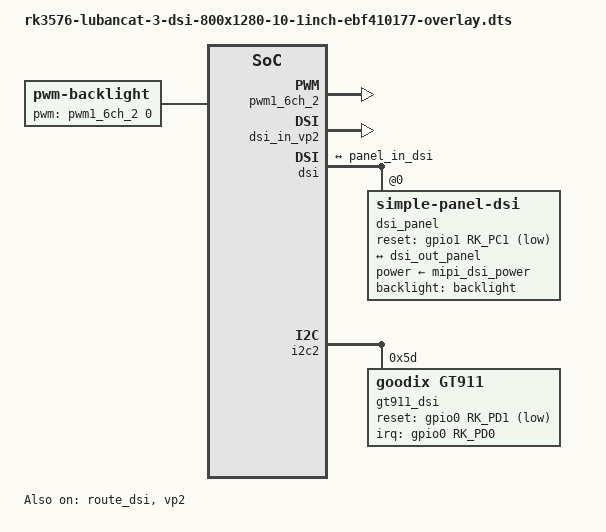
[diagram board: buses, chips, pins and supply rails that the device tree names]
/dts-v1/;
/plugin/;

#include <dt-bindings/gpio/gpio.h>
#include <dt-bindings/pinctrl/rockchip.h>
#include <dt-bindings/display/drm_mipi_dsi.h>
#include <dt-bindings/interrupt-controller/irq.h>

/ {
    fragment@0 {
        target-path = "/";

        __overlay__ {
            backlight: backlight {
                compatible = "pwm-backlight";
                pwms = <&pwm1_6ch_2 0 25000 0>;
                brightness-levels = <
                    0  20  20  21  21  22  22  23
                    23  24  24  25  25  26  26  27
                    27  28  28  29  29  30  30  31
                    31  32  32  33  33  34  34  35
                    35  36  36  37  37  38  38  39
                    40  41  42  43  44  45  46  47
                    48  49  50  51  52  53  54  55
                    56  57  58  59  60  61  62  63
                    64  65  66  67  68  69  70  71
                    72  73  74  75  76  77  78  79
                    80  81  82  83  84  85  86  87
                    88  89  90  91  92  93  94  95
                    96  97  98  99 100 101 102 103
                    104 105 106 107 108 109 110 111
                    112 113 114 115 116 117 118 119
                    120 121 122 123 124 125 126 127
                    128 129 130 131 132 133 134 135
                    136 137 138 139 140 141 142 143
                    144 145 146 147 148 149 150 151
                    152 153 154 155 156 157 158 159
                    160 161 162 163 164 165 166 167
                    168 169 170 171 172 173 174 175
                    176 177 178 179 180 181 182 183
                    184 185 186 187 188 189 190 191
                    192 193 194 195 196 197 198 199
                    200 201 202 203 204 205 206 207
                    208 209 210 211 212 213 214 215
                    216 217 218 219 220 221 222 223
                    224 225 226 227 228 229 230 231
                    232 233 234 235 236 237 238 239
                    240 241 242 243 244 245 246 247
                    248 249 250 251 252 253 254 255
                >;
                default-brightness-level = <200>;
            };
        };
    };

    fragment@1 {
        target = <&pwm1_6ch_2>;

        __overlay__ {
            status = "okay";
            pinctrl-0 = <&pwm1m1_ch2>;
        };
    };

    fragment@2 {
        target = <&route_dsi>;

        __overlay__ {
            status = "okay";
            connect = <&vp2_out_dsi>;
        };
    };

    fragment@3 {
        target = <&dsi_in_vp0>;

        __overlay__ {
            status = "disabled";
        };
    };

    fragment@4 {
        target = <&dsi_in_vp1>;

        __overlay__ {
            status = "disabled";
        };
    };

    fragment@5 {
        target = <&dsi_in_vp2>;

        __overlay__ {
            status = "okay";
        };
    };

    fragment@6 {
        target = <&dsi_in_vopl>;

        __overlay__ {
            status = "disabled";
        };
    };

    fragment@7 {
        target = <&vp2>;

        __overlay__ {
            status = "okay";
        };
    };

    fragment@8 {
        target = <&dsi>;

        __overlay__ {
            status = "okay";
            #address-cells = <1>;
            #size-cells = <0>;
            //rockchip,lane-rate = <1000>;

            dsi_panel: panel@0 {
                status = "okay";
                compatible = "simple-panel-dsi";
                reg = <0>;
                backlight = <&backlight>;
                power-supply = <&mipi_dsi_power>;
                reset-gpios = <&gpio1 RK_PC1 GPIO_ACTIVE_LOW>;

                enable-delay-ms = <35>;
                prepare-delay-ms = <6>;
                reset-delay-ms = <0>;
                init-delay-ms = <20>;
                unprepare-delay-ms = <0>;
                disable-delay-ms = <20>;

                width-mm = <74>;
                height-mm = <133>;

                dsi,flags = <(MIPI_DSI_MODE_VIDEO | MIPI_DSI_MODE_VIDEO_BURST |
                        MIPI_DSI_MODE_LPM | MIPI_DSI_MODE_NO_EOT_PACKET)>;
                dsi,format = <MIPI_DSI_FMT_RGB888>;
                dsi,lanes  = <4>;

                panel-init-sequence = [
                    39 05 04 FF 98 81 03
                    15 05 02 01 00
                    15 05 02 02 00
                    15 05 02 03 53
                    15 05 02 04 D3
                    15 05 02 05 00
                    15 05 02 06 0D
                    15 05 02 07 08
                    15 05 02 08 00
                    15 05 02 09 00
                    15 05 02 0a 00
                    15 05 02 0b 00
                    15 05 02 0c 00
                    15 05 02 0d 00
                    15 05 02 0e 00
                    15 05 02 0f 28
                    15 05 02 10 28
                    15 05 02 11 00
                    15 05 02 12 00
                    15 05 02 13 00
                    15 05 02 14 00
                    15 05 02 15 00
                    15 05 02 16 00
                    15 05 02 17 00
                    15 05 02 18 00
                    15 05 02 19 00
                    15 05 02 1a 00
                    15 05 02 1b 00
                    15 05 02 1d 00
                    15 05 02 1e 40
                    15 05 02 1f 80
                    15 05 02 20 06
                    15 05 02 21 01
                    15 05 02 22 00
                    15 05 02 23 00
                    15 05 02 24 00
                    15 05 02 25 00
                    15 05 02 26 00
                    15 05 02 27 00
                    15 05 02 28 33
                    15 05 02 29 33
                    15 05 02 2a 00
                    15 05 02 2b 00
                    15 05 02 2c 00
                    15 05 02 2d 00
                    15 05 02 2e 00
                    15 05 02 2f 00
                    15 05 02 30 00
                    15 05 02 31 00
                    15 05 02 32 00
                    15 05 02 33 00
                    15 05 02 34 03
                    15 05 02 35 00
                    15 05 02 36 00
                    15 05 02 37 00
                    15 05 02 38 96
                    15 05 02 39 00
                    15 05 02 3a 00
                    15 05 02 3b 00
                    15 05 02 3c 00
                    15 05 02 3d 00
                    15 05 02 3e 00
                    15 05 02 3f 00
                    15 05 02 40 00
                    15 05 02 41 00
                    15 05 02 42 00
                    15 05 02 43 00
                    15 05 02 44 00
                    15 05 02 50 00
                    15 05 02 51 23
                    15 05 02 52 45
                    15 05 02 53 67
                    15 05 02 54 89
                    15 05 02 55 AB
                    15 05 02 56 01
                    15 05 02 57 23
                    15 05 02 58 45
                    15 05 02 59 67
                    15 05 02 5a 89
                    15 05 02 5b AB
                    15 05 02 5c CD
                    15 05 02 5d EF
                    15 05 02 5e 00
                    15 05 02 5f 08
                    15 05 02 60 08
                    15 05 02 61 06
                    15 05 02 62 06
                    15 05 02 63 01
                    15 05 02 64 01
                    15 05 02 65 00
                    15 05 02 66 00
                    15 05 02 67 02
                    15 05 02 68 15
                    15 05 02 69 15
                    15 05 02 6a 14
                    15 05 02 6b 14
                    15 05 02 6c 0D
                    15 05 02 6d 0D
                    15 05 02 6e 0C
                    15 05 02 6f 0C
                    15 05 02 70 0F
                    15 05 02 71 0F
                    15 05 02 72 0E
                    15 05 02 73 0E
                    15 05 02 74 02
                    15 05 02 75 08
                    15 05 02 76 08
                    15 05 02 77 06
                    15 05 02 78 06
                    15 05 02 79 01
                    15 05 02 7a 01
                    15 05 02 7b 00
                    15 05 02 7c 00
                    15 05 02 7d 02
                    15 05 02 7e 15
                    15 05 02 7f 15
                    15 05 02 80 14
                    15 05 02 81 14
                    15 05 02 82 0D
                    15 05 02 83 0D
                    15 05 02 84 0C
                    15 05 02 85 0C
                    15 05 02 86 0F
                    15 05 02 87 0F
                    15 05 02 88 0E
                    15 05 02 89 0E
                    15 05 02 8A 02
                    39 05 04 FF 98 81 04
                    15 05 02 6E 2B
                    15 05 02 6F 37
                    15 05 02 3A 24
                    15 05 02 8D 1A
                    15 05 02 87 BA
                    15 05 02 B2 D1
                    15 05 02 88 0B
                    15 05 02 38 01
                    15 05 02 39 00
                    15 05 02 B5 02
                    15 05 02 31 25
                    15 05 02 3B 98
                    39 05 04 FF 98 81 01
                    15 05 02 22 0A
                    15 05 02 31 00
                    15 05 02 53 3D
                    15 05 02 55 3D
                    15 05 02 50 B5
                    15 05 02 51 AD
                    15 05 02 60 06
                    15 05 02 62 20
                    15 05 02 A0 00
                    15 05 02 A1 21
                    15 05 02 A2 35
                    15 05 02 A3 19
                    15 05 02 A4 1E
                    15 05 02 A5 33
                    15 05 02 A6 27
                    15 05 02 A7 26
                    15 05 02 A8 AF
                    15 05 02 A9 1B
                    15 05 02 AA 27
                    15 05 02 AB 8D
                    15 05 02 AC 1A
                    15 05 02 AD 1B
                    15 05 02 AE 50
                    15 05 02 AF 26
                    15 05 02 B0 2B
                    15 05 02 B1 54
                    15 05 02 B2 5E
                    15 05 02 B3 23
                    15 05 02 C0 00
                    15 05 02 C1 21
                    15 05 02 C2 35
                    15 05 02 C3 19
                    15 05 02 C4 1E
                    15 05 02 C5 33
                    15 05 02 C6 27
                    15 05 02 C7 26
                    15 05 02 C8 AF
                    15 05 02 C9 1B
                    15 05 02 CA 27
                    15 05 02 CB 8D
                    15 05 02 CC 1A
                    15 05 02 CD 1B
                    15 05 02 CE 50
                    15 05 02 CF 26
                    15 05 02 D0 2B
                    15 05 02 D1 54
                    15 05 02 D2 5E
                    15 05 02 D3 23
                    39 05 04 FF 98 81 00
                    15 78 02 11 00
                    15 05 02 29 00
                ];

                panel-exit-sequence = [
                    05 78 01 28
                    05 00 01 10
                ];

                disp_timings0: display-timings {
                    native-mode = <&dsi_timing0>;
                    dsi_timing0: timing0 {
                        clock-frequency = <67000000>;
                        hactive = <800>;
                        vactive = <1280>;
                        hsync-len = <24>;
                        hback-porch = <24>;
                        hfront-porch = <12>;
                        vsync-len = <2>;
                        vback-porch = <9>;
                        vfront-porch = <7>;
                        hsync-active = <0>;
                        vsync-active = <0>;
                        de-active = <0>;
                        pixelclk-active = <0>;
                    };
                };

                ports {
                    #address-cells = <1>;
                    #size-cells = <0>;

                    port@0 {
                        reg = <0>;
                        panel_in_dsi: endpoint {
                            remote-endpoint = <&dsi_out_panel>;
                        };
                    };
                };
            };

            ports {
                #address-cells = <1>;
                #size-cells = <0>;

                port@1 {
                    reg = <1>;
                    dsi_out_panel: endpoint {
                        remote-endpoint = <&panel_in_dsi>;
                    };
                };
            };
        };
    };

    fragment@9 {
        target = <&i2c2>;

        __overlay__ {
            pinctrl-names = "default";
            pinctrl-0 = <&i2c2m0_xfer>;
            #address-cells = <1>;
            #size-cells = <0>;
            status = "okay";

            gt911_dsi: gt911@5d {
                status = "okay";
                compatible = "goodix,gt911";
                reg = <0x5d>;
                interrupt-parent = <&gpio0>;
                interrupts = <RK_PD0 IRQ_TYPE_LEVEL_LOW>;
                reset-gpios = <&gpio0 RK_PD1 GPIO_ACTIVE_LOW>;
                irq-gpios = <&gpio0 RK_PD0 GPIO_ACTIVE_HIGH>;
            };
        };
    };
};
